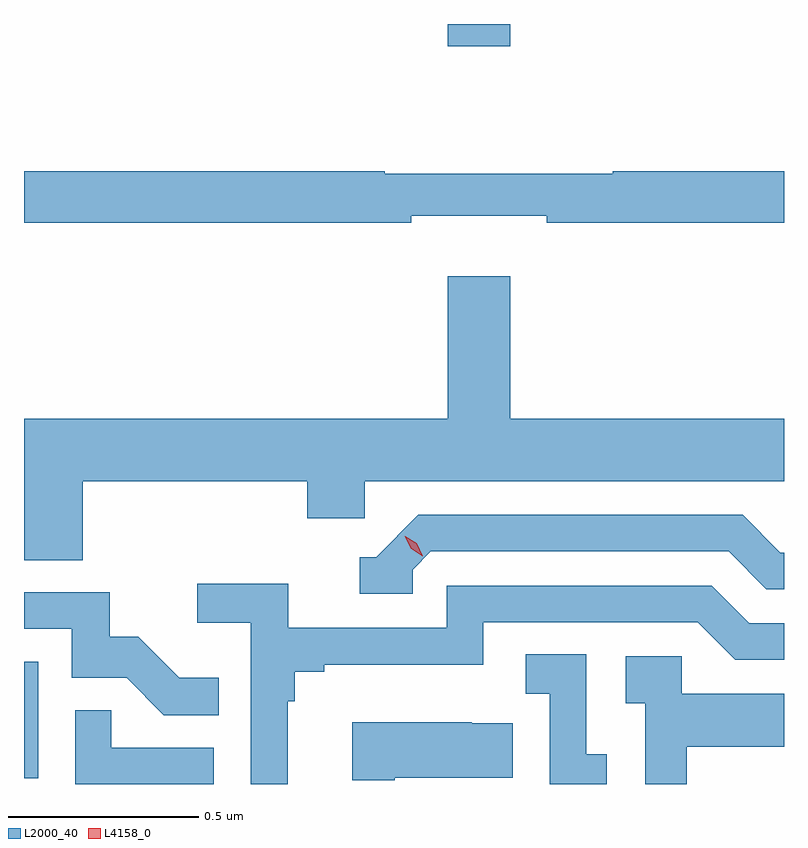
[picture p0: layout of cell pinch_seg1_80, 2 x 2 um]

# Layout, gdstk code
import gdstk
lib = gdstk.Library(unit=1e-6, precision=1e-09)
def R(c, l, rs):  # rectangles x0, y0, x1, y1
    for r in rs: c.add(gdstk.rectangle(r[:2], r[2:], *l))
def P(c, l, *ps):  # polygons
    for p in ps: c.add(gdstk.Polygon(p, *l))
L2000_40 = (2000, 40)
L4158_0 = (4158, 0)

pinch_seg1_80 = lib.new_cell('pinch_seg1_80')
R(pinch_seg1_80, L2000_40, [(1027.029,580.254,1027.066,580.561), (1028.144,582.18,1028.308,582.239)])
P(pinch_seg1_80, L2000_40, [(1028.048,581.735),(1028.404,581.735),(1028.404,581.716),(1029.029,581.716),(1029.029,581.852),(1028.578,581.852),(1028.578,581.845),(1027.978,581.845),(1027.978,581.852),(1027.029,581.852),(1027.029,581.716),(1028.048,581.716)],
  [(1027.184,581.036),(1027.775,581.036),(1027.775,580.938),(1027.926,580.938),(1027.926,581.036),(1029.029,581.036),(1029.029,581.2),(1028.308,581.2),(1028.308,581.575),(1028.144,581.575),(1028.144,581.2),(1027.029,581.2),(1027.029,580.828),(1027.184,580.828)],
  [(1028.052,580.803),(1028.1,580.851),(1028.883,580.851),(1028.982,580.752),(1029.029,580.752),(1029.029,580.848),(1029.019,580.848),(1028.92,580.947),(1028.067,580.947),(1027.956,580.836),(1027.913,580.836),(1027.913,580.74),(1028.052,580.74)],
  [(1027.723,580.457),(1027.742,580.457),(1027.742,580.534),(1027.819,580.534),(1027.819,580.553),(1028.238,580.553),(1028.238,580.665),(1028.802,580.665),(1028.901,580.566),(1029.029,580.566),(1029.029,580.662),(1028.938,580.662),(1028.839,580.761),(1028.142,580.761),(1028.142,580.65),(1027.724,580.65),(1027.724,580.766),(1027.485,580.766),(1027.485,580.664),(1027.626,580.664),(1027.626,580.239),(1027.723,580.239)],
  [(1027.541,580.519),(1027.437,580.519),(1027.33,580.626),(1027.254,580.626),(1027.254,580.743),(1027.029,580.743),(1027.029,580.647),(1027.155,580.647),(1027.155,580.518),(1027.299,580.518),(1027.397,580.42),(1027.541,580.42)],
  [(1028.563,580.317),(1028.508,580.317),(1028.508,580.58),(1028.349,580.58),(1028.349,580.477),(1028.412,580.477),(1028.412,580.239),(1028.563,580.239)],
  [(1028.773,580.337),(1029.029,580.337),(1029.029,580.477),(1028.76,580.477),(1028.76,580.575),(1028.613,580.575),(1028.613,580.451),(1028.664,580.451),(1028.664,580.239),(1028.773,580.239)],
  [(1027.528,580.335),(1027.259,580.335),(1027.259,580.433),(1027.164,580.433),(1027.164,580.239),(1027.528,580.239)],
  [(1028.005,580.256),(1028.315,580.256),(1028.315,580.399),(1028.207,580.399),(1028.207,580.402),(1027.893,580.402),(1027.893,580.249),(1028.005,580.249)])
P(pinch_seg1_80, L4158_0, [(1028.078,580.839),(1028.048,580.858),(1028.031,580.891),(1028.031,580.891),(1028.032,580.891),(1028.062,580.872),(1028.078,580.839),(1028.078,580.839)])

lib.write_gds('pinch_seg1_80.gds')
